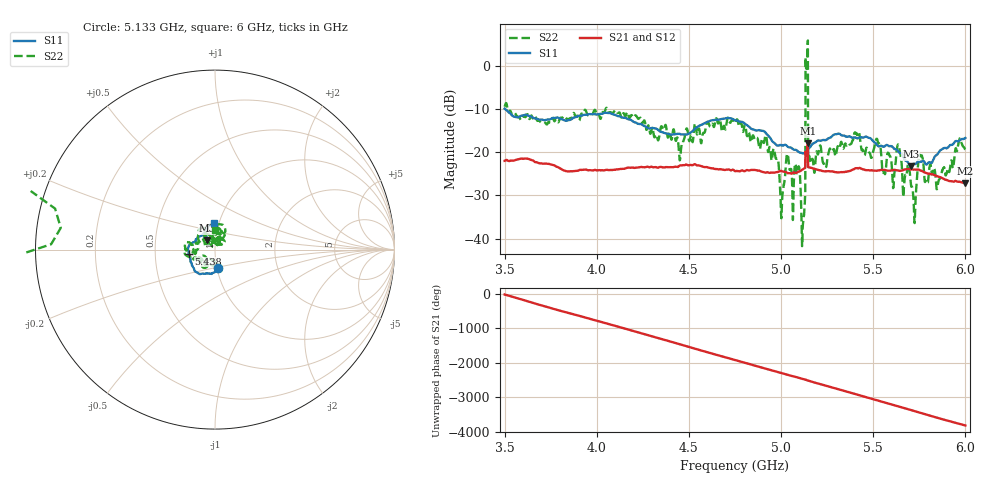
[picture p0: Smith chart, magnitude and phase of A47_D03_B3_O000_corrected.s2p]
! Created with skrf 1.9.0 (http://scikit-rf.org).
# Hz S RI R 50.0
!freq ReS11 ImS11 ReS21 ImS21 ReS12 ImS12 ReS22 ImS22
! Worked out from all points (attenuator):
!   1601 points, 3.5 GHz to 6 GHz, reference 50 ohm
!   highest |S21| = -17.95 dB at 5.145 GHz (marker M1); lowest = -27.1 dB at 6 GHz (marker M2)
!   lowest |S11| = -23.3 dB at 5.703 GHz (marker M3), VSWR 1.15, Z = 45.6 + j4.83 ohm
!   |S11| at or under -10 dB: 3.503 GHz to end of sweep
!   |S22| runs from -41.7 to 5.9 dB; largest |S21 - S12| = 0.0012
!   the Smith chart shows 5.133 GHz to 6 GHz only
!   S11 on the Smith chart (normalised r, x): 5.133 GHz: 1.01, -0.21; 5.438 GHz: 0.74, -0.03; 6 GHz: 0.95, +0.28
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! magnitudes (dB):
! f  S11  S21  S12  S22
! 3.5 GHz  -9.9  -22.0  -22.0  -9.4
! 3.917 GHz  -11.5  -24.1  -24.1  -11.0
! 4.334 GHz  -14.9  -23.5  -23.5  -17.2
! 4.455 GHz  -15.8  -23.0  -23.0  -20.7
! 4.75 GHz  -12.6  -24.4  -24.3  -13.3
! 4.969 GHz  -18.1  -24.6  -24.6  -21.1
! 5.005 GHz  -18.3  -24.4  -24.4  -31.8
! 5.034 GHz  -18.7  -24.8  -24.7  -20.3
! 5.058 GHz  -19.0  -24.9  -24.8  -25.0
! 5.088 GHz  -19.6  -24.6  -24.6  -24.6
! 5.119 GHz  -20.2  -23.9  -23.9  -36.6
! 5.133 GHz  -19.8  -19.8  -19.8  2.0
! 5.145 GHz  -19.3  -17.9  -17.9  5.9
! 5.159 GHz  -18.7  -23.6  -23.5  -22.4
! 5.167 GHz  -18.2  -23.6  -23.6  -21.7
! 5.438 GHz  -16.6  -23.8  -23.9  -19.5
! 5.584 GHz  -18.6  -24.2  -24.2  -20.2
! 5.703 GHz  -23.3  -24.0  -24.0  -26.9
! 5.722 GHz  -22.7  -24.0  -23.9  -34.3
! 5.756 GHz  -22.2  -24.2  -24.2  -20.9
! 5.852 GHz  -20.3  -25.6  -25.6  -27.2
! 6 GHz  -16.7  -27.1  -27.1  -19.4
